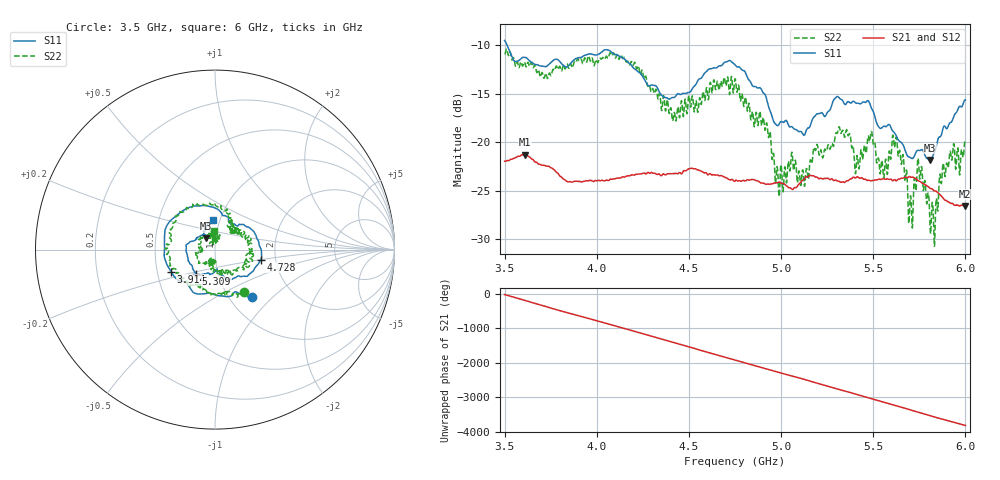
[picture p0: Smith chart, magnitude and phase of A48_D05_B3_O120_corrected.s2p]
! Created with skrf 1.9.0 (http://scikit-rf.org).
# Hz S RI R 50.0
!freq ReS11 ImS11 ReS21 ImS21 ReS12 ImS12 ReS22 ImS22
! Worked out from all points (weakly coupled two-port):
!   1601 points, 3.5 GHz to 6 GHz, reference 50 ohm
!   highest |S21| = -21.30 dB at 3.609 GHz (marker M1); lowest = -26.6 dB at 5.995 GHz (marker M2)
!   lowest |S11| = -21.8 dB at 5.808 GHz (marker M3), VSWR 1.18, Z = 44.8 + j5.68 ohm
!   |S11| at or under -10 dB: 3.513 GHz to end of sweep
!   |S22| runs from -30.7 to -10.4 dB; largest |S21 - S12| = 0.0011
!   S11 on the Smith chart (normalised r, x): 3.5 GHz: 1.26, -0.75; 3.914 GHz: 0.59, -0.16; 4.728 GHz: 1.67, -0.20; 5.309 GHz: 0.78, -0.22; 6 GHz: 0.92, +0.31
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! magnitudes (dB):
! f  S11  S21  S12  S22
! 3.5 GHz  -9.5  -22.0  -21.9  -10.9
! 3.609 GHz  -11.3  -21.3  -21.3  -11.8
! 3.914 GHz  -11.3  -24.1  -24.0  -11.4
! 3.917 GHz  -11.2  -24.1  -24.1  -11.5
! 4.141 GHz  -11.3  -23.6  -23.6  -11.4
! 4.334 GHz  -14.6  -23.3  -23.2  -15.5
! 4.42 GHz  -15.4  -23.2  -23.2  -16.9
! 4.728 GHz  -11.7  -23.9  -23.8  -13.5
! 4.75 GHz  -12.0  -24.0  -23.9  -13.5
! 4.93 GHz  -16.2  -24.3  -24.3  -19.3
! 4.981 GHz  -18.3  -24.2  -24.1  -22.9
! 5.167 GHz  -17.8  -23.5  -23.4  -22.2
! 5.309 GHz  -15.3  -24.0  -23.9  -18.8
! 5.412 GHz  -16.0  -23.6  -23.5  -21.4
! 5.483 GHz  -16.1  -24.0  -23.9  -19.7
! 5.584 GHz  -18.2  -23.9  -23.8  -21.3
! 5.633 GHz  -19.7  -23.9  -23.8  -21.0
! 5.703 GHz  -21.6  -23.6  -23.6  -25.5
! 5.752 GHz  -20.9  -24.0  -24.0  -23.8
! 5.808 GHz  -21.8  -24.8  -24.7  -28.6
! 5.995 GHz  -15.7  -26.6  -26.5  -20.1
! 6 GHz  -15.7  -26.6  -26.5  -19.9
